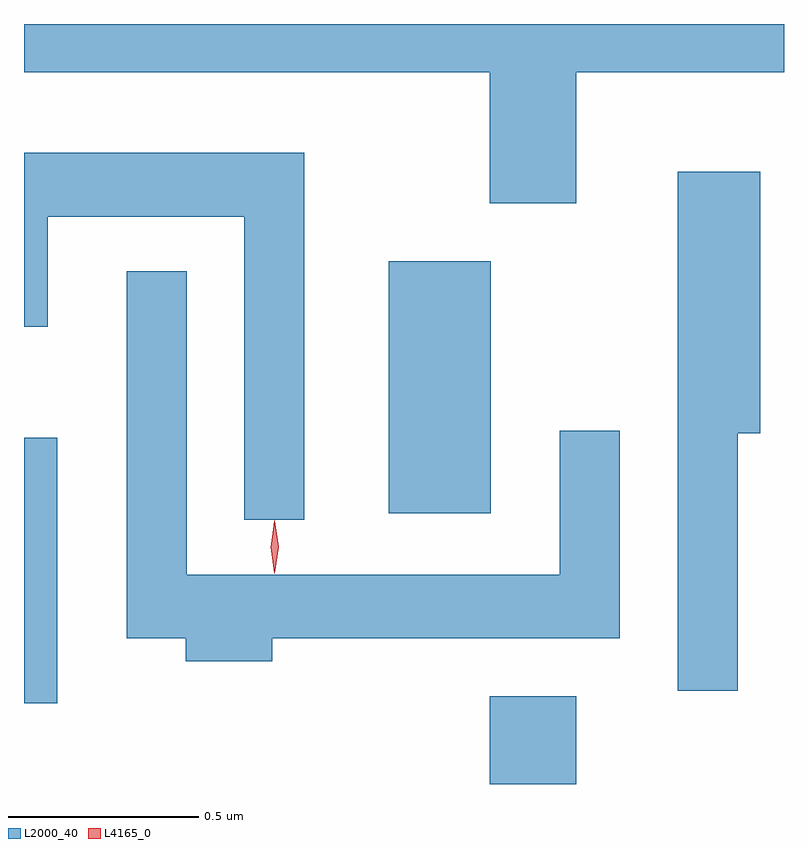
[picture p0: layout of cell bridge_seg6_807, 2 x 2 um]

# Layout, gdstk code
import gdstk
lib = gdstk.Library(unit=1e-6, precision=1e-09)
def R(c, l, rs):  # rectangles x0, y0, x1, y1
    for r in rs: c.add(gdstk.rectangle(r[:2], r[2:], *l))
def P(c, l, *ps):  # polygons
    for p in ps: c.add(gdstk.Polygon(p, *l))
L2000_40 = (2000, 40)
L4165_0 = (4165, 0)

bridge_seg6_807 = lib.new_cell('bridge_seg6_807')
R(bridge_seg6_807, L2000_40, [(453.061,1579.243,453.289,1579.474), (451.836,1579.456,451.924,1580.154), (452.796,1579.956,453.064,1580.619)])
P(bridge_seg6_807, L2000_40, [(453.289,1581.116),(453.836,1581.116),(453.836,1581.243),(451.836,1581.243),(451.836,1581.116),(453.061,1581.116),(453.061,1580.771),(453.289,1580.771)],
  [(452.574,1580.904),(451.836,1580.904),(451.836,1580.446),(451.899,1580.446),(451.899,1580.736),(452.416,1580.736),(452.416,1579.938),(452.574,1579.938)],
  [(453.714,1580.166),(453.774,1580.166),(453.774,1580.854),(453.556,1580.854),(453.556,1579.488),(453.714,1579.488)],
  [(452.489,1579.626),(453.404,1579.626),(453.404,1580.173),(453.246,1580.173),(453.246,1579.794),(452.264,1579.794),(452.264,1580.593),(452.106,1580.593),(452.106,1579.626),(452.261,1579.626),(452.261,1579.566),(452.489,1579.566)])
P(bridge_seg6_807, L4165_0, [(452.496,1579.797),(452.495,1579.798),(452.486,1579.867),(452.495,1579.936),(452.496,1579.936),(452.496,1579.936),(452.506,1579.867),(452.496,1579.798)],
  [(452.494,1579.8),(452.485,1579.866),(452.494,1579.932),(452.494,1579.933),(452.495,1579.932),(452.504,1579.866),(452.495,1579.8),(452.495,1579.8)])

lib.write_gds('bridge_seg6_807.gds')
